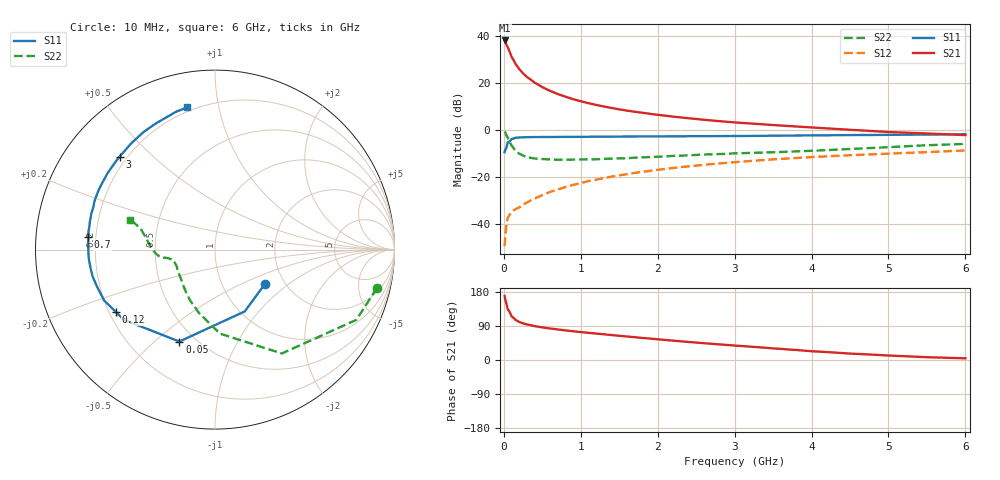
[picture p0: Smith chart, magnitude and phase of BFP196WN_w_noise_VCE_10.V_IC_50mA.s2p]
! Infineon Technologies  Discrete & RF Semiconductors
! BFP196WN
! VCE =  10. V,  IC =  50 mA
! Common Emitter S-Parameters:  Jan 2017
# GHz  S  MA  R  50
!  f  S11  S21  S12  S22
! GHz  MAG  ANG  MAG  ANG  MAG  ANG  MAG  ANG
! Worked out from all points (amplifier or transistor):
!   77 points, 10 MHz to 6 GHz, reference 50 ohm
!   highest |S21| = 38.0 dB at 10 MHz (marker M1)
!   |S21| within 3 dB of that: start of sweep to 51.63 MHz
!   unconditionally stable (mu >= 1): 670.3 MHz to 2.712 GHz
!   at 130 MHz: K = 0.51, MSG = 31.8 dB, |S12| = -34.1 dB
!   at 2.2 GHz: K = 1.02, MAG = 10.0 dB, |S12| = -16.2 dB
!   at 6 GHz: K = 0.90, MSG = 3.3 dB, |S12| = -8.7 dB
!   lowest NFmin = 1.27 dB at 450 MHz
!   S11 on the Smith chart (normalised r, x): 10 MHz: 1.60, -0.68; 50 MHz: 0.41, -0.60; 120 MHz: 0.23, -0.27; 700 MHz: 0.17, +0.05; 3 GHz: 0.17, +0.40; 6 GHz: 0.18, +0.81
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0.01  0.3378 -34.2  79.36 168.9  0.0034 76.4  0.9275 -13.3
0.02  0.3823 -64.3  73.22 157.8  0.0062 74.1  0.8798 -26.4
0.05  0.5494 -111.2  56.95 134.2  0.0135 53.2  0.6883 -57.2
0.1  0.6411 -142.4  35.9 115.1  0.018 49.2  0.4692 -86.6
0.12  0.6524 -147.8  31.69 112.1  0.0191 48.6  0.4226 -92.6
0.15  0.6796 -155.4  25.59 105.9  0.0208 47.8  0.3641 -104.2
0.2  0.6893 -162.7  19.61 100.4  0.0226 50.7  0.314 -116.5
0.25  0.6977 -167.5  15.87 96.6  0.0261 53.1  0.2853 -124.8
0.3  0.7011 -171.2  13.32 93.8  0.0288 55.6  0.2652 -132.1
0.4  0.7051 -176.3  10.09 89.3  0.0348 59.8  0.2473 -141.1
0.5  0.7062 179.9  8.093 86.1  0.0411 62.7  0.2407 -147.9
0.6  0.7071 176.9  6.76 83.2  0.0482 64.8  0.2365 -152.7
0.7  0.7094 174.3  5.79 80.7  0.0542 66.1  0.2327 -155.9
0.9  0.7116 169.6  4.503 75.9  0.0681 67.1  0.2347 -160.1
1.1  0.7153 165.9  3.698 71.7  0.0818 67.5  0.2366 -163.3
1.5  0.7222 158.9  2.733 63.9  0.1081 66.6  0.2481 -167.4
2.1  0.7299 149.1  2.004 52.9  0.1486 63.5  0.275 -170.3
3  0.7419 135.7  1.445 38.1  0.2062 57.0  0.3178 -173.9
3.1  0.7433 134.2  1.408 36.8  0.2123 56.2  0.3212 -174.6
4.1  0.7681 119.9  1.103 22.1  0.2699 48.0  0.3664 175.4
5.1  0.788 109.0  0.89 11.0  0.3178 40.6  0.4387 163.7
6  0.8074 101.0  0.776 4.4  0.3665 34.7  0.5036 160.7
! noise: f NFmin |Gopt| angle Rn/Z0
0.45  1.27  0.53  -177  0.05
0.9  1.39  0.56  -171  0.05
1.9  2.33  0.69  -148  0.16
2.4  3.05  0.7  -140  0.28
